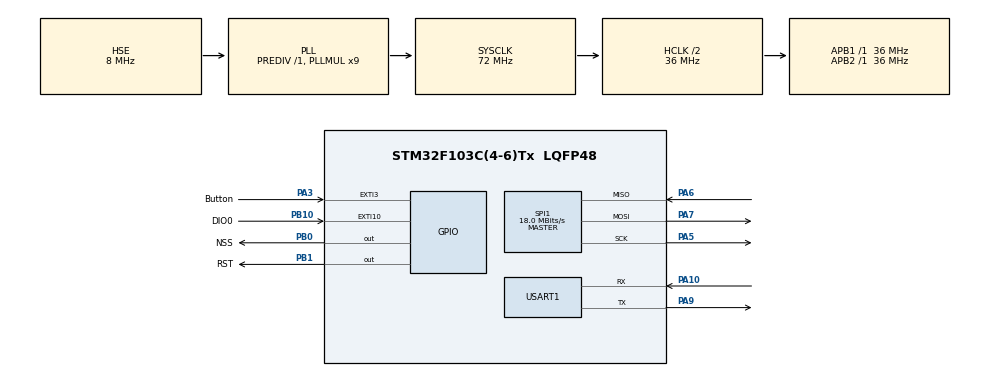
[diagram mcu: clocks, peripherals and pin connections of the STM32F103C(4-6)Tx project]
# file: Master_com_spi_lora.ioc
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Mcu.Family=STM32F1
Mcu.Name=STM32F103C(4-6)Tx
Mcu.Package=LQFP48
NVIC.EXTI15_10_IRQn=true\:0\:0\:false\:false\:true\:true\:true\:true
NVIC.EXTI3_IRQn=true\:0\:0\:false\:false\:true\:true\:true\:true
NVIC.PriorityGroup=NVIC_PRIORITYGROUP_4
PA10.Mode=Asynchronous
PA10.Signal=USART1_RX
PA3.GPIO_Label=Button
PA3.GPIO_ModeDefaultEXTI=GPIO_MODE_IT_RISING
PA3.GPIO_PuPd=GPIO_NOPULL
PA3.Signal=GPXTI3
PA5.Mode=Full_Duplex_Master
PA5.Signal=SPI1_SCK
PA6.Mode=Full_Duplex_Master
PA6.Signal=SPI1_MISO
PA7.Mode=Full_Duplex_Master
PA7.Signal=SPI1_MOSI
PA9.Mode=Asynchronous
PA9.Signal=USART1_TX
PB0.GPIO_Label=NSS
PB0.PinState=GPIO_PIN_SET
PB0.Signal=GPIO_Output
PB1.GPIO_Label=RST
PB1.PinState=GPIO_PIN_SET
PB1.Signal=GPIO_Output
PB10.GPIO_Label=DIO0
PB10.GPIO_ModeDefaultEXTI=GPIO_MODE_IT_RISING
PB10.Signal=GPXTI10
PD0-OSC_IN.Mode=HSE-External-Oscillator
PD0-OSC_IN.Signal=RCC_OSC_IN
PD1-OSC_OUT.Mode=HSE-External-Oscillator
PD1-OSC_OUT.Signal=RCC_OSC_OUT
ProjectManager.HeapSize=0x200
ProjectManager.StackSize=0x400
ProjectManager.TargetToolchain=MDK-ARM V4
RCC.AHBCLKDivider=RCC_SYSCLK_DIV2
RCC.AHBFreq_Value=36000000
RCC.APB1Freq_Value=36000000
RCC.APB1TimFreq_Value=36000000
RCC.APB2Freq_Value=36000000
RCC.APB2TimFreq_Value=36000000
RCC.HCLKFreq_Value=36000000
RCC.PLLMUL=RCC_PLL_MUL9
RCC.PLLSourceVirtual=RCC_PLLSOURCE_HSE
RCC.SYSCLKFreq_VALUE=72000000
RCC.SYSCLKSource=RCC_SYSCLKSOURCE_PLLCLK
RCC.USBFreq_Value=72000000
SPI1.BaudRatePrescaler=SPI_BAUDRATEPRESCALER_2
SPI1.CalculateBaudRate=18.0 MBits/s
SPI1.Direction=SPI_DIRECTION_2LINES
SPI1.Mode=SPI_MODE_MASTER
SPI1.VirtualType=VM_MASTER
USART1.VirtualMode=VM_ASYNC
VP_SYS_VS_ND.Mode=No_Debug
board=custom

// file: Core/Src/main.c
/* USER CODE BEGIN Header */
/**
  ******************************************************************************
  * @file           : main.c
  * @brief          : Main program body
  ******************************************************************************
  * @attention
  *
  * Copyright (c) 2026 STMicroelectronics.
  * All rights reserved.
  *
  * This software is licensed under terms that can be found in the LICENSE file
  * in the root directory of this software component.
  * If no LICENSE file comes with this software, it is provided AS-IS.
  *
  ******************************************************************************
  */
/* USER CODE END Header */
#include "main.h"
#include "spi.h"
#include "usart.h"
#include "gpio.h"

/* USER CODE BEGIN Includes */
#include "Lora.h"
#include <string.h>
#include <stdio.h>
/* USER CODE END Includes */

/* USER CODE BEGIN PV */
LoRa myLoRa;
uint8_t Lora_stat = 0;
char buf_tx[100];
char buf_rx[128];
uint8_t send_data[9] = {0x00, 0x01, 0x05, 0x02, 0x05, 0x06, 0x07, 0x08, 0x09};
uint8_t received_data[16];  // Buffer m�s grande para recibir comandos del maestro
uint8_t packet_size;
uint8_t packet_count = 0;
uint8_t peticion_flag;
volatile uint8_t data_received_flag = 0;  // Flag para indicar que se recibieron datos
uint32_t last_receive_time = 0;  // Timestamp de la �ltima recepci�n
uint8_t is_valid_packet(uint8_t* data, uint8_t length);
void procesar_comando_esclavo(uint8_t* buffer, uint8_t length);

// Variables para validaci�n de datos
uint8_t last_valid_packet[16];
//uint8_t packet_count = 0;
//uint8_t valid_packet_count = 0;
//uint8_t corrupted_packet_count = 0;
uint32_t last_valid_time = 0;

// Configuraci�n del esclavo
const uint8_t ESCLAVO_ID = 0x01;  // ID de este esclavo
const uint8_t MAESTRO_ID = 0x00;  // ID del maestro
/* USER CODE END PV */

void SystemClock_Config(void);

int main(void)
{

  /* MCU Configuration--------------------------------------------------------*/

  /* Reset of all peripherals, Initializes the Flash interface and the Systick. */
  HAL_Init();

  /* Configure the system clock */
  SystemClock_Config();

  /* Initialize all configured peripherals */
  MX_GPIO_Init();
  MX_SPI1_Init();
  MX_USART1_UART_Init();
  /* USER CODE BEGIN 2 */
myLoRa = newLoRa();

  myLoRa.CS_port         = NSS_GPIO_Port;
  myLoRa.CS_pin          = NSS_Pin;
  myLoRa.reset_port      = RST_GPIO_Port;
  myLoRa.reset_pin       = RST_Pin;
  myLoRa.DIO0_port       = DIO0_GPIO_Port;
  myLoRa.DIO0_pin        = DIO0_Pin;
  myLoRa.hSPIx           = &hspi1;

  myLoRa.frequency             = 434;  //433.92;             // default = 433 MHz
  myLoRa.spredingFactor        = SF_7;            // Cambiar a SF_8 para mejor inmunidad a ruido
  myLoRa.bandWidth             = BW_125KHz;       // default = BW_125KHz
  myLoRa.crcRate               = CR_4_5;          // Cambiar a CR_4_8 para mejor correcci�n de errores
  myLoRa.power                 = POWER_17db;      // Reducir potencia para evitar interferencias
  myLoRa.overCurrentProtection = 100;             // default = 100 mA
  myLoRa.preamble              = 12;              // Aumentar pre�mbulo para mejor sincronizaci�n

  //LoRa_reset(&myLoRa);

  LoRa_reset(&myLoRa);

  if(LoRa_init(&myLoRa) == LORA_OK)
  {
    sprintf(buf_tx, "LoRa initialized successfully\r\n");
    HAL_UART_Transmit(&huart1, (uint8_t*)buf_tx, strlen(buf_tx), HAL_MAX_DELAY);
    Lora_stat = 1;
  }
  else
  {
    sprintf(buf_tx, "LoRa initialization failed\r\n");
    HAL_UART_Transmit(&huart1, (uint8_t*)buf_tx, strlen(buf_tx), HAL_MAX_DELAY);
    Lora_stat = 0;
  }

	// START CONTINUOUS RECEIVING -----------------------------------
	LoRa_startReceiving(&myLoRa);
  /* USER CODE END 2 */

  /* Infinite loop */
  while (1)
  {

    /* USER CODE BEGIN 3 */
		if (peticion_flag)
		{
			peticion_flag=0;
			last_receive_time = HAL_GetTick();

    sprintf(buf_tx, "Button interrupt - Data received\r\n");
    HAL_UART_Transmit(&huart1, (uint8_t*)buf_tx, strlen(buf_tx), HAL_MAX_DELAY);

		// enviar peticion
		 uint8_t peticion[1];
		peticion[0]=1;

    sprintf(buf_tx, "Enviando peticion...\r\n");
    HAL_UART_Transmit(&huart1, (uint8_t*)buf_tx, strlen(buf_tx), HAL_MAX_DELAY);

    LoRa_transmit(&myLoRa, peticion, 1, 2000);
    LoRa_startReceiving(&myLoRa);

    sprintf(buf_tx, "Petición enviada correctamente \r\n");
    HAL_UART_Transmit(&huart1, (uint8_t*)buf_tx, strlen(buf_tx), HAL_MAX_DELAY);
  }

		// Verificar si se recibieron datos por interrupci�n
    if(data_received_flag)
    {
      data_received_flag = 0;  // Limpiar flag

      // Intentar recibir los datos
      packet_size = LoRa_receive(&myLoRa, received_data, sizeof(received_data)); //HAY Q DESCOMENTARLO DESPUES
      packet_count++;

      if(packet_size > 0)
      {
        // Mostrar datos recibidos
        sprintf(buf_tx, "Received data (%d bytes): ", packet_size);
        for(int i=0; i<packet_size; i++)
        {
          sprintf(buf_tx + strlen(buf_tx), "%02d", received_data[i]);
        }
        sprintf(buf_tx + strlen(buf_tx), "\r\n");
        HAL_UART_Transmit(&huart1, (uint8_t*)buf_tx, strlen(buf_tx), HAL_MAX_DELAY);

				sprintf(buf_tx + strlen(buf_tx), "Voltaje: %02d\r\n",received_data[0]);
        HAL_UART_Transmit(&huart1, (uint8_t*)buf_tx, strlen(buf_tx), HAL_MAX_DELAY);

				sprintf(buf_tx + strlen(buf_tx), "Corriente: %02d\r\n",received_data[1]);
        HAL_UART_Transmit(&huart1, (uint8_t*)buf_tx, strlen(buf_tx), HAL_MAX_DELAY);

				sprintf(buf_tx + strlen(buf_tx), "Potencia: %02d\r\n",received_data[2]);
        HAL_UART_Transmit(&huart1, (uint8_t*)buf_tx, strlen(buf_tx), HAL_MAX_DELAY);

				sprintf(buf_tx + strlen(buf_tx), "Temperatura: %02d\r\n",received_data[3]);
        HAL_UART_Transmit(&huart1, (uint8_t*)buf_tx, strlen(buf_tx), HAL_MAX_DELAY);
        // Validar el paquete
        /*if(is_valid_packet(received_data, packet_size))
        {
          //valid_packet_count++;
          last_valid_time = HAL_GetTick();

          // Guardar �ltimo paquete v�lido
          for(int i = 0; i < packet_size; i++)
          {
            last_valid_packet[i] = received_data[i];
          }*/

          // Procesar comando del maestro usando la funci�n del esclavo
          procesar_comando_esclavo(received_data, packet_size);
        }
        else
        {
          //corrupted_packet_count++;
          /*sprintf(buf_tx, "??? PAQUETE CORRUPTO - Total corruptos: %d\r\n", corrupted_packet_count);
          HAL_UART_Transmit(&huart1, (uint8_t*)buf_tx, strlen(buf_tx), HAL_MAX_DELAY);

          // Mostrar estad�sticas cada 10 paquetes
          if(packet_count % 10 == 0)
          {
            sprintf(buf_tx, "?? Estad�sticas - Total: %d, V�lidos: %d, Corruptos: %d\r\n",
                    packet_count, valid_packet_count, corrupted_packet_count);
            HAL_UART_Transmit(&huart1, (uint8_t*)buf_tx, strlen(buf_tx), HAL_MAX_DELAY);
          }*/
        }
      }
      else
      {
        //sprintf(buf_tx, "Interrupcion pero sin datos validos\r\n");
        //HAL_UART_Transmit(&huart1, (uint8_t*)buf_tx, strlen(buf_tx), HAL_MAX_DELAY);
      }

		HAL_Delay(100);
		}
	}
  /* USER CODE END 3 */
}

void SystemClock_Config(void)
{
  RCC_OscInitTypeDef RCC_OscInitStruct = {0};
  RCC_ClkInitTypeDef RCC_ClkInitStruct = {0};

  /** Initializes the RCC Oscillators according to the specified parameters
  * in the RCC_OscInitTypeDef structure.
  */
  RCC_OscInitStruct.OscillatorType = RCC_OSCILLATORTYPE_HSE;
  RCC_OscInitStruct.HSEState = RCC_HSE_ON;
  RCC_OscInitStruct.HSEPredivValue = RCC_HSE_PREDIV_DIV1;
  RCC_OscInitStruct.HSIState = RCC_HSI_ON;
  RCC_OscInitStruct.PLL.PLLState = RCC_PLL_ON;
  RCC_OscInitStruct.PLL.PLLSource = RCC_PLLSOURCE_HSE;
  RCC_OscInitStruct.PLL.PLLMUL = RCC_PLL_MUL9;
  if (HAL_RCC_OscConfig(&RCC_OscInitStruct) != HAL_OK)
  {
    Error_Handler();
  }

  /** Initializes the CPU, AHB and APB buses clocks
  */
  RCC_ClkInitStruct.ClockType = RCC_CLOCKTYPE_HCLK|RCC_CLOCKTYPE_SYSCLK
                              |RCC_CLOCKTYPE_PCLK1|RCC_CLOCKTYPE_PCLK2;
  RCC_ClkInitStruct.SYSCLKSource = RCC_SYSCLKSOURCE_PLLCLK;
  RCC_ClkInitStruct.AHBCLKDivider = RCC_SYSCLK_DIV2;
  RCC_ClkInitStruct.APB1CLKDivider = RCC_HCLK_DIV1;
  RCC_ClkInitStruct.APB2CLKDivider = RCC_HCLK_DIV1;

  if (HAL_RCC_ClockConfig(&RCC_ClkInitStruct, FLASH_LATENCY_2) != HAL_OK)
  {
    Error_Handler();
  }
}

/* USER CODE BEGIN 4 */
void HAL_GPIO_EXTI_Callback(uint16_t GPIO_Pin)
{

  //sprintf(buf_tx, "DIO0 interrupt - Data received\r\n");
   // HAL_UART_Transmit(&huart1, (uint8_t*)buf_tx, strlen(buf_tx), HAL_MAX_DELAY);
  if(GPIO_Pin == DIO0_Pin)
  {
    // Marcar que se recibieron datos
    data_received_flag = 1;
    last_receive_time = HAL_GetTick();

    sprintf(buf_tx, "DIO0 interrupt - Data received\r\n");
    HAL_UART_Transmit(&huart1, (uint8_t*)buf_tx, strlen(buf_tx), HAL_MAX_DELAY);
  }
	//interrupcion por button
	 if(GPIO_Pin == Button_Pin)
  {
    // Marcar que se recibieron datos
    peticion_flag = 1;

  }
}
// Funci�n para calcular checksum simple
uint8_t calculate_checksum(uint8_t* data, uint8_t length)
{
  uint8_t checksum = 0;
  for(uint8_t i = 0; i < length; i++)
  {
    checksum ^= data[i];  // XOR simple
  }
  return checksum;
}

// Funci�n para validar si un paquete es v�lido
uint8_t is_valid_packet(uint8_t* data, uint8_t length)
{
  // Validaciones b�sicas
  if(length < 3) return 0;  // M�nimo 3 bytes

  // Formato del maestro: ID_ESCLAVO, ID_MAESTRO, COMANDO
  // Verificar si es un comando del maestro dirigido a este esclavo
  if(data[0] == 0x01)  // ID de este esclavo (0x01)
  {
    if(data[1] == 0x00)  // ID del maestro (0x00)
    {
      // Validar comando (deber�a ser un comando conocido)
      if(data[2] >= 0x01 && data[2] <= 0x0F)  // Comandos v�lidos
      {
        return 1;  // Paquete v�lido del maestro
      }
    }
  }

  // Verificar si es una respuesta de otro esclavo al maestro
  if(data[0] >= 0x02 && data[0] <= 0x0F)  // ID de otro esclavo
  {
    if(data[1] == 0x00)  // Dirigido al maestro
    {
      return 1;  // Posible respuesta v�lida de otro esclavo
    }
  }

  return 0;  // Paquete no v�lido
}
void procesar_comando_esclavo(uint8_t* buffer, uint8_t length)
{

    // Enviar respuesta
	  uint8_t respuesta[10];
    respuesta[0] = MAESTRO_ID;        // Para el maestro
    respuesta[1] = ESCLAVO_ID;        // De este esclavo
    respuesta[2] = 0x05;              // CMD_RESPUESTA_DATOS
    sprintf(buf_tx, "Enviando respuesta al maestro...\r\n");
    HAL_UART_Transmit(&huart1, (uint8_t*)buf_tx, strlen(buf_tx), HAL_MAX_DELAY);

    LoRa_transmit(&myLoRa, respuesta, 10, 2000);
    LoRa_startReceiving(&myLoRa);

    sprintf(buf_tx, "Respuesta enviada correctamente \r\n");
    HAL_UART_Transmit(&huart1, (uint8_t*)buf_tx, strlen(buf_tx), HAL_MAX_DELAY);

}
/* USER CODE END 4 */

void Error_Handler(void)
{
  __disable_irq();
  while (1)
  {
  }
}
